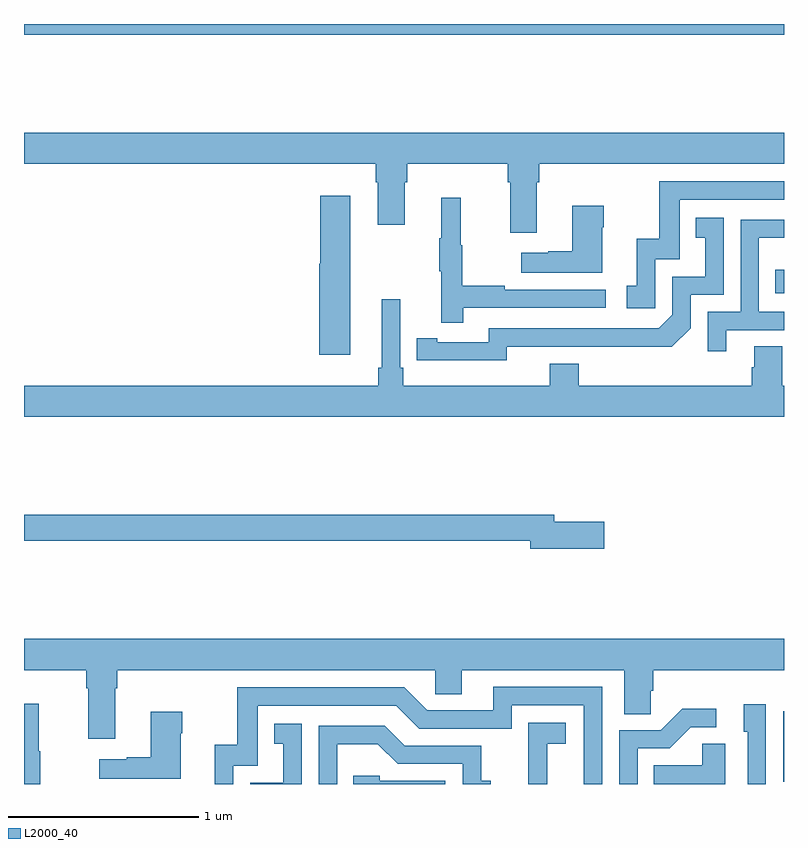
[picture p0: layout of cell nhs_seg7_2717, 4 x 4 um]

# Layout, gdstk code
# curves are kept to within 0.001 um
import gdstk
lib = gdstk.Library(unit=1e-6, precision=1e-09)
def R(c, l, rs):  # rectangles x0, y0, x1, y1
    for r in rs: c.add(gdstk.rectangle(r[:2], r[2:], *l))
def P(c, l, *ps):  # polygons
    for p in ps: c.add(gdstk.Polygon(p, *l))
L2000_40 = (2000, 40)

nhs_seg7_2717 = lib.new_cell('nhs_seg7_2717')
R(nhs_seg7_2717, L2000_40, [(290.997,1016.013,291,1016.382), (290.953,1018.584,291,1018.707), (287,1019.944,291,1020)])
P(nhs_seg7_2717, L2000_40, [(289.699,1019.168),(289.712,1019.168),(289.712,1019.264),(291,1019.264),(291,1019.428),(287,1019.428),(287,1019.264),(288.851,1019.264),(288.851,1019.168),(288.863,1019.168),(288.863,1018.944),(289.003,1018.944),(289.003,1019.168),(289.016,1019.168),(289.016,1019.264),(289.547,1019.264),(289.547,1019.168),(289.559,1019.168),(289.559,1018.902),(289.699,1018.902)],
  [(290.322,1018.761),(290.451,1018.761),(290.451,1019.076),(291,1019.076),(291,1019.172),(290.343,1019.172),(290.343,1018.87),(290.225,1018.87),(290.225,1018.623),(290.172,1018.623),(290.172,1018.503),(290.322,1018.503)],
  [(288.718,1019.095),(288.56,1019.095),(288.56,1018.737),(288.554,1018.737),(288.554,1018.26),(288.718,1018.26)],
  [(289.313,1018.506),(290.062,1018.506),(290.062,1018.602),(289.529,1018.602),(289.529,1018.622),(289.306,1018.622),(289.306,1018.836),(289.298,1018.836),(289.298,1019.086),(289.196,1019.086),(289.196,1018.873),(289.185,1018.873),(289.185,1018.699),(289.196,1018.699),(289.196,1018.428),(289.313,1018.428)],
  [(290.044,1018.931),(290.052,1018.931),(290.052,1019.044),(289.886,1019.044),(289.886,1018.805),(289.76,1018.805),(289.76,1018.795),(289.617,1018.795),(289.617,1018.691),(290.044,1018.691)],
  [(289.542,1018.302),(290.41,1018.301),(290.508,1018.398),(290.508,1018.575),(290.682,1018.575),(290.682,1018.981),(290.536,1018.981),(290.536,1018.875),(290.585,1018.875),(290.585,1018.671),(290.412,1018.671),(290.412,1018.47),(290.34,1018.398),(289.446,1018.398),(289.446,1018.326),(289.174,1018.326),(289.174,1018.346),(289.066,1018.346),(289.066,1018.23),(289.542,1018.229)],
  [(290.695,1018.389),(291,1018.389),(291,1018.485),(290.868,1018.485),(290.868,1018.874),(291,1018.874),(291,1018.971),(290.772,1018.971),(290.772,1018.485),(290.598,1018.485),(290.598,1018.278),(290.695,1018.278)],
  [(291,1018.096),(290.991,1018.096),(290.991,1018.304),(290.843,1018.304),(290.843,1018.194),(290.831,1018.194),(290.831,1018.096),(289.919,1018.096),(289.919,1018.213),(289.766,1018.213),(289.766,1018.096),(288.995,1018.096),(288.995,1018.192),(288.981,1018.192),(288.981,1018.552),(288.884,1018.552),(288.884,1018.192),(288.865,1018.192),(288.865,1018.096),(287,1018.096),(287,1017.932),(291,1017.932)],
  [(290.053,1017.38),(289.792,1017.38),(289.792,1017.416),(287,1017.416),(287,1017.28),(289.664,1017.28),(289.664,1017.238),(290.053,1017.238)],
  [(287.479,1016.504),(287.492,1016.504),(287.492,1016.6),(289.164,1016.6),(289.164,1016.473),(289.303,1016.473),(289.303,1016.6),(290.159,1016.6),(290.159,1016.368),(290.298,1016.368),(290.298,1016.491),(290.312,1016.491),(290.312,1016.6),(291,1016.6),(291,1016.764),(287,1016.764),(287,1016.6),(287.327,1016.6),(287.327,1016.504),(287.339,1016.504),(287.339,1016.238),(287.479,1016.238)],
  [(288.102,1016.097),(288.231,1016.097),(288.231,1016.412),(288.96,1016.412),(289.08,1016.292),(289.566,1016.292),(289.566,1016.415),(289.947,1016.415),(289.947,1016),(290.043,1016),(290.043,1016.511),(289.469,1016.511),(289.469,1016.388),(289.122,1016.388),(289.002,1016.508),(288.123,1016.508),(288.123,1016.206),(288.005,1016.206),(288.005,1016),(288.102,1016)],
  [(287.086,1016.172),(287.078,1016.172),(287.078,1016.422),(287,1016.422),(287,1016),(287.086,1016)],
  [(290.904,1016.419),(290.789,1016.419),(290.789,1016.274),(290.808,1016.274),(290.808,1016),(290.904,1016)],
  [(290.229,1016.187),(290.398,1016.187),(290.509,1016.298),(290.644,1016.298),(290.644,1016.396),(290.465,1016.396),(290.352,1016.283),(290.133,1016.283),(290.133,1016),(290.229,1016)],
  [(287.824,1016.267),(287.832,1016.267),(287.832,1016.38),(287.666,1016.38),(287.666,1016.141),(287.54,1016.141),(287.54,1016.131),(287.397,1016.131),(287.397,1016.027),(287.824,1016.027)],
  [(289.754,1016.213),(289.852,1016.213),(289.852,1016.323),(289.654,1016.323),(289.654,1016.117),(289.655,1016.117),(289.655,1016),(289.754,1016)],
  [(288.462,1016.317),(288.316,1016.317),(288.316,1016.211),(288.365,1016.211),(288.365,1016.007),(288.192,1016.007),(288.192,1016),(288.462,1016)],
  [(288.648,1016.21),(288.862,1016.21),(288.966,1016.106),(289.308,1016.106),(289.308,1016),(289.456,1016),(289.456,1016.017),(289.407,1016.017),(289.407,1016.202),(289.003,1016.202),(288.898,1016.307),(288.552,1016.307),(288.552,1016),(288.648,1016)],
  [(290.692,1016.213),(290.571,1016.213),(290.571,1016.098),(290.314,1016.098),(290.314,1016),(290.692,1016)],
  [(289.218,1016.016),(288.873,1016.016),(288.873,1016.043),(288.733,1016.043),(288.733,1016),(289.218,1016)])

lib.write_gds('nhs_seg7_2717.gds')
